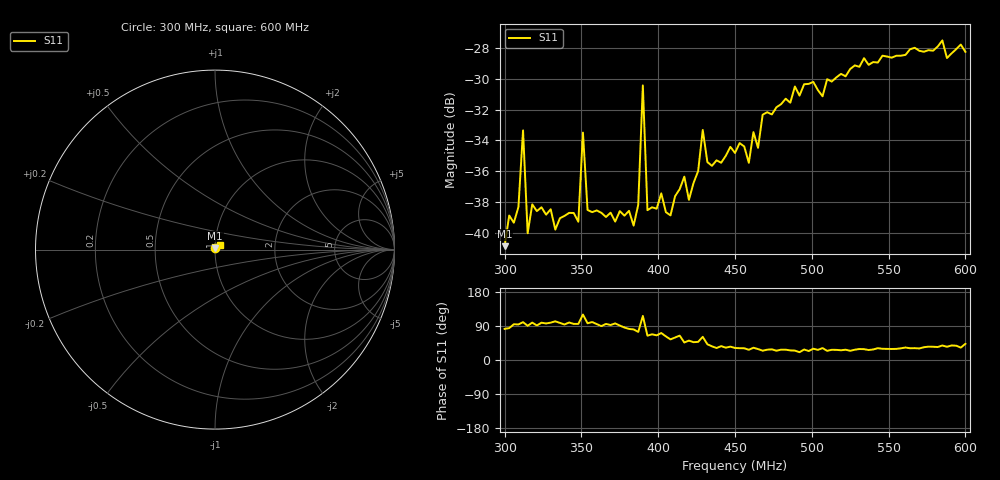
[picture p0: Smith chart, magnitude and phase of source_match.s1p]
! Created with skrf 1.8.0 (http://scikit-rf.org).
# Hz S RI R 50.0
!freq ReS11 ImS11
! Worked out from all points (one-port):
!   101 points, 300 MHz to 600 MHz, reference 50 ohm
!   lowest |S11| = -40.8 dB at 300 MHz (marker M1), VSWR 1.02, Z = 50.1 + j0.902 ohm
!   |S11| at or under -10 dB: start of sweep to end of sweep
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3e8  0.00126 0.009
3.09e8  -0.000804 0.0121
3.12e8  -0.00369 0.0212
3.15e8  -4.21e-05 0.01
3.18e8  -0.00189 0.0123
3.39e8  -0.000738 0.0114
3.48e8  -0.001 0.0109
3.51e8  -0.0106 0.0183
3.54e8  -0.00144 0.0118
3.75e8  -0.000185 0.0118
3.84e8  0.00171 0.0105
3.87e8  0.00338 0.0119
3.9e8  -0.0133 0.027
3.93e8  0.00517 0.0107
4.02e8  0.00432 0.0127
4.08e8  0.00666 0.00929
4.14e8  0.00602 0.0125
4.2e8  0.00804 0.01
4.29e8  0.0104 0.0189
4.35e8  0.0134 0.00973
4.5e8  0.0155 0.00957
4.59e8  0.0151 0.00766
4.68e8  0.022 0.01
4.89e8  0.0271 0.0125
5.07e8  0.0236 0.0145
5.25e8  0.0309 0.014
5.64e8  0.0337 0.0202
6e8  0.0284 0.0262
